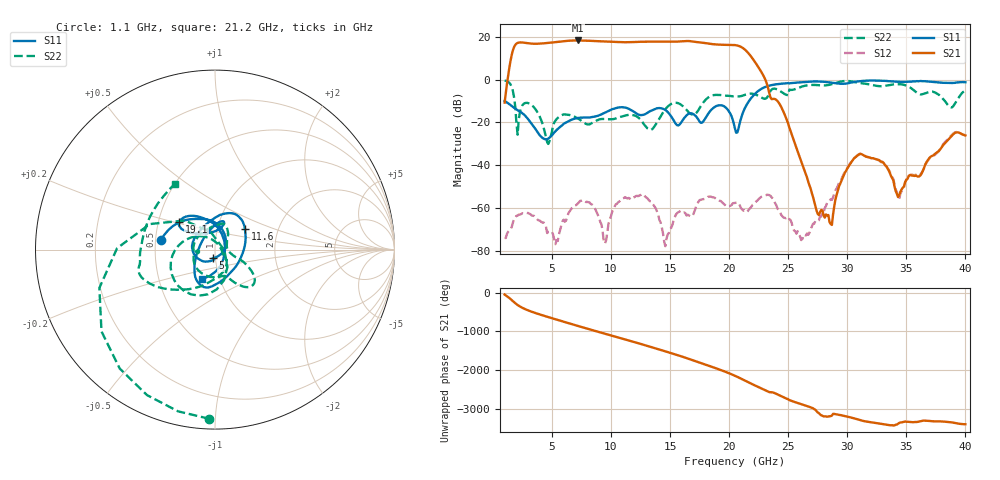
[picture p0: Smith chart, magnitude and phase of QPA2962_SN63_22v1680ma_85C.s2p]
!File name = QPA2962_SN63_22v1680ma_85C.s2p
!Base file name = QPA2962_SN63
!Date = 8/1/2020
!Time = 9:17 PM
!Test duration(min) = 0.48
!Test = S-Parameters
!MPTS version = 8.91.5
!State File = C:\data\QPA2962\20200608083801\State_Cal\SPARM\QPA2962_SPARM_3Temp_F1_40_p1_Pn20.sta
!Cal File =
!ComputerName = CMPE-LAB-12
!Comments = Ref_TRL_QPA2962_SAP293660
!Z0 = 50
!Input Power(dBm) = -20.00
!SN = 63
!Wafer = NA
!RC = NA
!CKT = NA
!VD = 22
!ID = 1680
!TEMP = 85
!COND = SPARM
!SWEEP = FRQ
!PULSE = CW
!set_Vg(v) = -3.500
!set_Vd(v) = 22.000
!set_Vd(mA) = 1680.000
!set_temp(c) = 37.0
!file_name = QPA2962_SN63_22v1680ma_85C.s2p
!date_code = 20200801
!Test condition label = 22v1680ma_85C
!Vg(V) = -1.899
!Vg(mA) = -0.032
!VD_DMM(V) = 22.001000
!ID_DMM(mA) = 1679.980000
!TEMP(V) = 0.043910
!Temp(C) = 36.50
# GHz  S  DB  R  50
!%	Freq(GHz)  s11(dB)  s11(deg)  s21(dB)  s21(deg)  s12(dB)  s12(deg)  s22(dB)  s22(deg)
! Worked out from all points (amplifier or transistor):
!   391 points, 1 GHz to 40 GHz, reference 50 ohm
!   highest |S21| = 18.4 dB at 7.2 GHz (marker M1)
!   |S21| within 3 dB of that: 1.809 GHz to 21.01 GHz (19.2 GHz wide, 168 % of centre)
!   unconditionally stable (mu >= 1): start of sweep to end of sweep
!   at 7.5 GHz: K = 39.75, MAG = 18.5 dB, |S12| = -56.6 dB
!   at 20.5 GHz: K = 48.96, MAG = 17.0 dB, |S12| = -57.7 dB
!   at 40 GHz: K = 32.34, MAG = -18.1 dB, |S12| = -26.0 dB
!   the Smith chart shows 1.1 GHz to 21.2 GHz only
!   S11 on the Smith chart (normalised r, x): 1.1 GHz: 0.53, +0.06; 5 GHz: 0.97, -0.09; 11.6 GHz: 1.36, +0.32; 19.1 GHz: 0.64, +0.21; 21.2 GHz: 0.83, -0.28
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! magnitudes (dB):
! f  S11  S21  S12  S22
! 1 GHz  -9.9  -10.7  -74.0  -0.4
! 1.1 GHz  -10.3  -6.1  -74.1  -0.5
! 1.7 GHz  -12.7  13.7  -66.9  -5.3
! 2.1 GHz  -14.3  17.3  -63.6  -25.7
! 2.8 GHz  -17.2  17.2  -62.2  -10.8
! 5 GHz  -26.1  17.4  -71.1  -24.5
! 7.2 GHz  -17.9  18.4  -57.9  -18.1
! 7.5 GHz  -17.7  18.4  -56.6  -19.2
! 9.5 GHz  -15.4  17.9  -76.6  -18.4
! 11.6 GHz  -13.9  17.6  -55.6  -16.5
! 14 GHz  -13.3  17.9  -63.2  -19.1
! 14.6 GHz  -14.1  17.8  -77.9  -13.8
! 15.6 GHz  -21.3  17.9  -62.4  -10.8
! 19.1 GHz  -12.0  16.5  -56.3  -7.1
! 20.5 GHz  -23.0  16.2  -57.7  -7.8
! 21.2 GHz  -15.0  14.7  -61.3  -7.3
! 27 GHz  -0.8  -53.0  -68.8  -2.4
! 28.7 GHz  -1.4  -68.0  -56.2  -2.1
! 30.6 GHz  -1.0  -36.7  -36.6  -1.0
! 33.5 GHz  -0.7  -42.4  -42.0  -2.6
! 34.4 GHz  -0.9  -54.1  -56.0  -2.1
! 40 GHz  -1.2  -26.1  -26.0  -5.0
